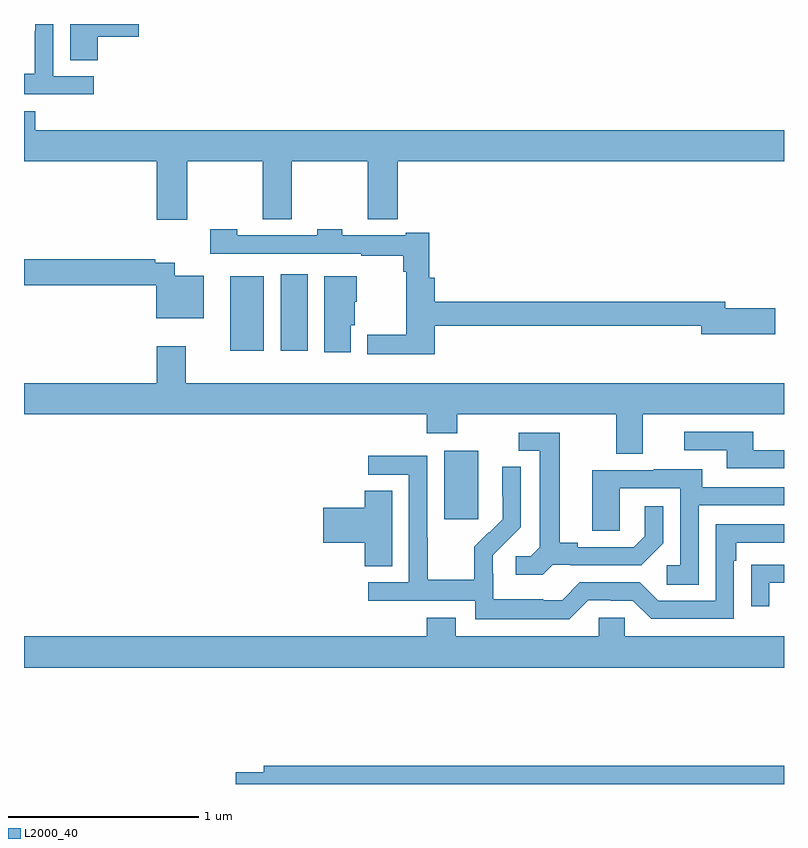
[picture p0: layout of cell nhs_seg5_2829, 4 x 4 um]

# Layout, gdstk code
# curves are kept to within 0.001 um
import gdstk
lib = gdstk.Library(unit=1e-6, precision=1e-09)
def R(c, l, rs):  # rectangles x0, y0, x1, y1
    for r in rs: c.add(gdstk.rectangle(r[:2], r[2:], *l))
def P(c, l, *ps):  # polygons
    for p in ps: c.add(gdstk.Polygon(p, *l))
L2000_40 = (2000, 40)

nhs_seg5_2829 = lib.new_cell('nhs_seg5_2829')
R(nhs_seg5_2829, L2000_40, [(277.211,872.193,277.39,872.554), (276.086,873.08,276.262,873.472), (276.35,873.08,276.493,873.481)])
P(nhs_seg5_2829, L2000_40, [(275.368,874.524),(275.154,874.524),(275.154,874.799),(275.058,874.799),(275.058,874.76),(275.056,874.76),(275.056,874.537),(275,874.537),(275,874.428),(275.368,874.428)],
  [(275.387,874.733),(275.605,874.733),(275.605,874.799),(275.243,874.799),(275.243,874.609),(275.387,874.609)],
  [(275.859,874.076),(276.256,874.076),(276.256,873.772),(276.41,873.772),(276.41,874.076),(276.808,874.076),(276.808,873.772),(276.968,873.772),(276.968,874.076),(279,874.076),(279,874.24),(275.06,874.24),(275.06,874.339),(275,874.339),(275,874.076),(275.699,874.076),(275.699,873.768),(275.859,873.768)],
  [(277.163,873.21),(278.564,873.21),(278.564,873.167),(278.953,873.167),(278.953,873.302),(278.692,873.302),(278.692,873.338),(277.163,873.338),(277.163,873.463),(277.133,873.463),(277.133,873.7),(277.01,873.7),(277.01,873.687),(276.675,873.687),(276.675,873.72),(276.543,873.72),(276.543,873.687),(276.123,873.687),(276.123,873.72),(275.979,873.72),(275.979,873.591),(276.775,873.591),(276.775,873.579),(276.997,873.579),(276.997,873.494),(277.012,873.494),(277.012,873.164),(276.807,873.164),(276.807,873.062),(277.163,873.062)],
  [(275.947,873.475),(275.793,873.475),(275.793,873.543),(275.69,873.543),(275.69,873.56),(275,873.56),(275,873.424),(275.697,873.424),(275.697,873.251),(275.947,873.251)],
  [(276.721,873.213),(276.742,873.213),(276.742,873.336),(276.751,873.336),(276.751,873.472),(276.581,873.472),(276.581,873.072),(276.721,873.072)],
  [(278.257,872.744),(279,872.744),(279,872.908),(275.851,872.908),(275.851,873.103),(275.699,873.103),(275.699,872.908),(275,872.908),(275,872.744),(277.121,872.744),(277.121,872.645),(277.281,872.645),(277.281,872.744),(278.117,872.744),(278.117,872.536),(278.257,872.536)],
  [(279,872.556),(278.839,872.556),(278.839,872.652),(278.475,872.652),(278.475,872.556),(278.699,872.556),(278.699,872.46),(279,872.46)],
  [(277.782,871.953),(277.876,871.953),(277.876,871.95),(278.248,871.95),(278.364,872.066),(278.364,872.26),(278.267,872.26),(278.267,872.103),(278.21,872.046),(277.915,872.046),(277.915,872.069),(277.819,872.069),(277.819,872.649),(277.605,872.649),(277.605,872.553),(277.715,872.553),(277.715,872.045),(277.668,871.998),(277.587,871.998),(277.587,871.901),(277.73,871.901)],
  [(277.971,871.767),(278.087,871.767),(278.087,871.764),(278.205,871.764),(278.301,871.668),(278.736,871.668),(278.736,871.973),(278.749,871.973),(278.749,872.07),(279,872.07),(279,872.166),(278.64,872.166),(278.64,871.764),(278.337,871.764),(278.241,871.86),(277.926,871.86),(277.833,871.767),(277.733,871.767),(277.733,871.771),(277.47,871.771),(277.47,871.905),(277.468,871.905),(277.468,872.002),(277.614,872.15),(277.614,872.468),(277.518,872.468),(277.518,872.314),(277.52,872.314),(277.52,872.192),(277.449,872.121),(277.446,872.124),(277.369,872.047),(277.369,871.873),(277.125,871.873),(277.125,872.096),(277.122,872.096),(277.122,872.526),(276.813,872.526),(276.813,872.427),(277.026,872.427),(277.026,871.86),(276.813,871.86),(276.813,871.764),(277.374,871.764),(277.374,871.667),(277.871,871.667)],
  [(278.55,872.265),(279,872.265),(279,872.361),(278.569,872.361),(278.569,872.455),(278.315,872.455),(278.315,872.451),(277.991,872.451),(277.991,872.131),(278.136,872.131),(278.136,872.355),(278.454,872.355),(278.454,871.95),(278.382,871.95),(278.382,871.849),(278.55,871.849)],
  [(276.937,872.342),(276.794,872.342),(276.794,872.252),(276.576,872.252),(276.576,872.069),(276.794,872.069),(276.794,871.945),(276.937,871.945)],
  [(278.923,871.857),(279,871.857),(279,871.953),(278.929,871.953),(278.929,871.952),(278.827,871.952),(278.827,871.734),(278.923,871.734)],
  [(279,871.576),(278.163,871.576),(278.163,871.674),(278.025,871.674),(278.025,871.576),(277.273,871.576),(277.273,871.675),(277.121,871.675),(277.121,871.576),(275,871.576),(275,871.412),(279,871.412)],
  [(279,870.896),(276.263,870.896),(276.263,870.86),(276.114,870.86),(276.114,870.799),(279,870.799)])

lib.write_gds('nhs_seg5_2829.gds')
